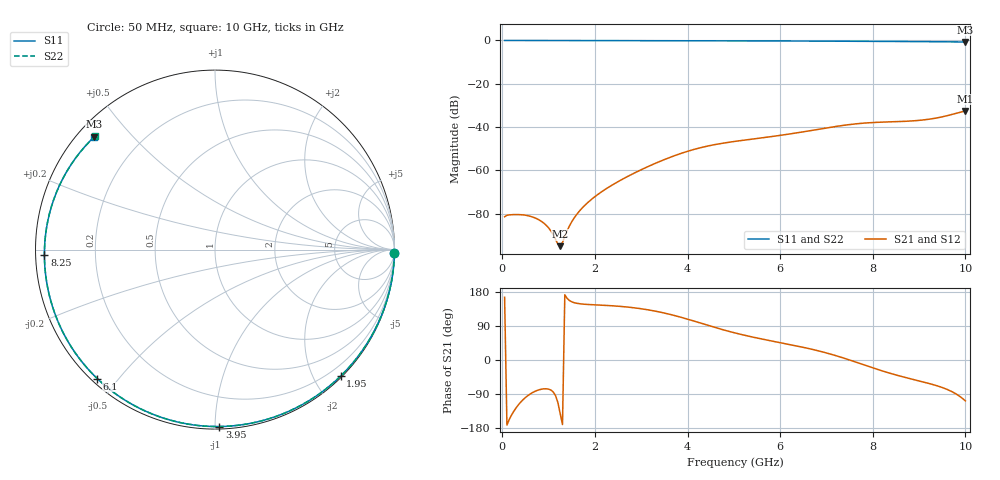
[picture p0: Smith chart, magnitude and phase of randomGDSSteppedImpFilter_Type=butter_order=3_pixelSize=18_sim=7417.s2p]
! freq	dB(S11)	phase(S11)	dB(S12)	phase(S12)
!  dB(S21)	phase(S21)	dB(S22)	phase(S22)
!S-par simulation data
#  GHz  S  DB  R 50
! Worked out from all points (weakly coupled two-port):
!   200 points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, 50 MHz to 10 GHz, reference 50 ohm
!   highest |S21| = -32.60 dB at 10 GHz (marker M1); lowest = -95.0 dB at 1.25 GHz (marker M2)
!   lowest |S11| = -0.7 dB at 10 GHz (marker M3), VSWR 24.24, Z = 2.38 + j19.7 ohm
!   |S11| at or under -10 dB: nowhere
!   |S22| runs from -0.7 to 0.0 dB; largest |S21 - S12| = 0
!   S11 on the Smith chart (normalised r, x): 50 MHz: 0, -97; 1.95 GHz: 0.02, -2.40; 3.95 GHz: 0.01, -1.02; 6.1 GHz: 0.02, -0.44; 8.25 GHz: 0.03, -0.02; 10 GHz: 0.05, +0.39
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0.05  -0.00 -1.2  -81.43 165.7  -81.43 165.7  -0.00 -1.2
0.65  -0.01 -15.3  -81.52 -86.2  -81.52 -86.2  -0.01 -15.4
1.25  -0.03 -29.3  -95.02 -141.6  -95.02 -141.6  -0.03 -29.3
1.6  -0.05 -37.3  -80.55 149.8  -80.55 149.8  -0.05 -37.3
1.75  -0.05 -40.7  -76.83 147.4  -76.83 147.4  -0.05 -40.8
1.95  -0.06 -45.3  -72.98 145.8  -72.98 145.8  -0.06 -45.3
2.2  -0.07 -50.9  -69.10 144.4  -69.10 144.4  -0.07 -50.9
2.55  -0.08 -58.6  -64.61 141.5  -64.61 141.5  -0.08 -58.6
2.95  -0.09 -67.4  -60.21 136.1  -60.21 136.1  -0.09 -67.4
3.4  -0.10 -77.0  -55.89 126.6  -55.89 126.6  -0.10 -77.1
3.95  -0.12 -88.6  -51.53 109.6  -51.53 109.6  -0.12 -88.7
4.45  -0.14 -99.0  -48.70 91.1  -48.70 91.1  -0.14 -99.0
5.05  -0.17 -111.2  -46.54 70.6  -46.54 70.6  -0.17 -111.3
6.1  -0.24 -132.4  -43.54 43.4  -43.54 43.4  -0.24 -132.5
6.7  -0.29 -144.6  -41.49 27.9  -41.49 27.9  -0.29 -144.7
7.5  -0.36 -161.4  -38.84 -0.0  -38.84 -0.0  -0.36 -161.5
8.25  -0.44 -178.2  -37.68 -30.5  -37.68 -30.5  -0.44 -178.3
8.35  -0.45 179.5  -37.61 -34.2  -37.61 -34.2  -0.45 179.4
8.8  -0.50 168.8  -37.23 -49.1  -37.23 -49.1  -0.50 168.7
9.2  -0.55 158.8  -36.42 -61.5  -36.42 -61.5  -0.55 158.6
9.6  -0.63 148.2  -34.79 -77.4  -34.79 -77.4  -0.63 148.0
10  -0.72 136.9  -32.60 -107.9  -32.60 -107.9  -0.73 136.7
